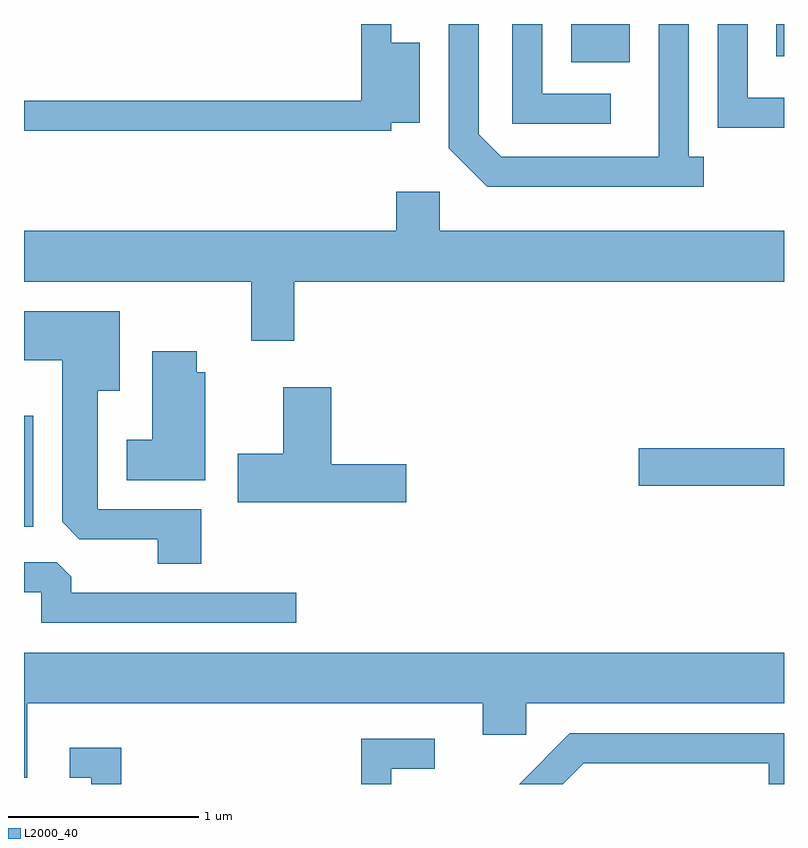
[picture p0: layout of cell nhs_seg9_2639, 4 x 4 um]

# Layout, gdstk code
import gdstk
lib = gdstk.Library(unit=1e-6, precision=1e-09)
def R(c, l, rs):  # rectangles x0, y0, x1, y1
    for r in rs: c.add(gdstk.rectangle(r[:2], r[2:], *l))
def P(c, l, *ps):  # polygons
    for p in ps: c.add(gdstk.Polygon(p, *l))
L2000_40 = (2000, 40)

nhs_seg9_2639 = lib.new_cell('nhs_seg9_2639')
R(nhs_seg9_2639, L2000_40, [(261.611,2063.786,261.659,2064.369), (264.846,2064.001,265.611,2064.199), (264.491,2066.231,264.799,2066.432), (265.571,2066.261,265.611,2066.432)])
P(nhs_seg9_2639, L2000_40, [(265.611,2066.044),(265.419,2066.044),(265.419,2066.432),(265.261,2066.432),(265.261,2065.886),(265.611,2065.886)],
  [(264.698,2066.064),(264.339,2066.064),(264.339,2066.432),(264.181,2066.432),(264.181,2065.906),(264.698,2065.906)],
  [(263.544,2065.911),(263.694,2065.911),(263.694,2066.334),(263.544,2066.334),(263.544,2066.432),(263.386,2066.432),(263.386,2066.029),(261.611,2066.029),(261.611,2065.871),(263.544,2065.871)],
  [(265.188,2065.734),(265.109,2065.734),(265.109,2066.432),(264.951,2066.432),(264.951,2065.734),(264.122,2065.734),(264.004,2065.852),(264.004,2066.432),(263.846,2066.432),(263.846,2065.779),(264.049,2065.576),(265.188,2065.576)],
  [(263.034,2065.076),(265.611,2065.076),(265.611,2065.344),(263.799,2065.344),(263.799,2065.549),(263.571,2065.549),(263.571,2065.344),(261.611,2065.344),(261.611,2065.076),(262.806,2065.076),(262.806,2064.766),(263.034,2064.766)],
  [(262.544,2063.879),(261.999,2063.879),(261.999,2064.501),(262.114,2064.501),(262.114,2064.919),(261.611,2064.919),(261.611,2064.661),(261.811,2064.661),(261.811,2063.812),(261.902,2063.721),(262.316,2063.721),(262.316,2063.591),(262.544,2063.591)],
  [(262.564,2064.599),(262.519,2064.599),(262.519,2064.709),(262.286,2064.709),(262.286,2064.244),(262.151,2064.244),(262.151,2064.031),(262.564,2064.031)],
  [(263.624,2064.114),(263.229,2064.114),(263.229,2064.519),(262.976,2064.519),(262.976,2064.169),(262.736,2064.169),(262.736,2063.916),(263.624,2063.916)],
  [(263.043,2063.439),(261.859,2063.439),(261.859,2063.524),(261.784,2063.599),(261.611,2063.599),(261.611,2063.441),(261.701,2063.441),(261.701,2063.281),(263.043,2063.281)],
  [(261.629,2062.856),(264.026,2062.856),(264.026,2062.691),(264.254,2062.691),(264.254,2062.856),(265.611,2062.856),(265.611,2063.124),(261.611,2063.124),(261.611,2062.466),(261.629,2062.466)],
  [(264.557,2062.541),(265.531,2062.541),(265.531,2062.432),(265.611,2062.432),(265.611,2062.699),(264.484,2062.699),(264.217,2062.432),(264.447,2062.432)],
  [(263.544,2062.511),(263.773,2062.511),(263.773,2062.669),(263.386,2062.669),(263.386,2062.432),(263.544,2062.432)],
  [(262.124,2062.624),(261.853,2062.624),(261.853,2062.466),(261.966,2062.466),(261.966,2062.432),(262.124,2062.432)])

lib.write_gds('nhs_seg9_2639.gds')
